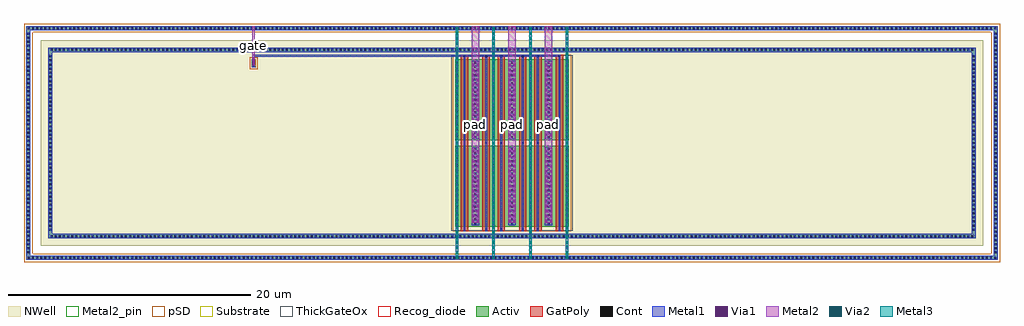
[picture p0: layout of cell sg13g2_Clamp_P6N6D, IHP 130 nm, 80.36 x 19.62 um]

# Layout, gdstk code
import gdstk
lib = gdstk.Library(unit=1e-6, precision=1e-09)
def R(c, l, rs):  # rectangles x0, y0, x1, y1
    for r in rs: c.add(gdstk.rectangle(r[:2], r[2:], *l))
def A(c, l, x, y, w, h, nx, ny, dx, dy):  # array of equal rectangles
    R(c, l, [(x+i*dx, y+j*dy, x+i*dx+w, y+j*dy+h) for i in range(nx) for j in range(ny)])
def P(c, l, *ps):  # polygons
    for p in ps: c.add(gdstk.Polygon(p, *l))
Activ = (1, 0)
GatPoly = (5, 0)
Cont = (6, 0)
Metal1 = (8, 0)
Metal2 = (10, 0)
Metal2_pin = (10, 2)
pSD = (14, 0)
Via1 = (19, 0)
Via2 = (29, 0)
Metal3 = (30, 0)
NWell = (31, 0)
Substrate = (40, 0)
ThickGateOx = (44, 0)
Recog_diode = (99, 31)

sg13g2_guardring_p16000w = lib.new_cell('sg13g2_GuardRing_P16000W3852HFF')
P(sg13g2_guardring_p16000w, Activ, [(-40,-9.63),(-40,9.29),(-39.66,9.29),(-39.66,-9.29),(39.66,-9.29),(39.66,9.29),(-40,9.29),(-40,9.63),(40,9.63),(40,-9.63)])
A(sg13g2_guardring_p16000w, Cont, -39.86, -9.54, 0.16, 0.16, 235, 2, 0.34, 18.92)
A(sg13g2_guardring_p16000w, Cont, -39.91, -9.09, 0.16, 0.16, 1, 54, 0, 0.34)
A(sg13g2_guardring_p16000w, Cont, 39.75, -9.09, 0.16, 0.16, 1, 54, 0, 0.34)
P(sg13g2_guardring_p16000w, Metal1, [(-40,-9.63),(-40,9.29),(-39.66,9.29),(-39.66,-9.29),(39.66,-9.29),(39.66,9.29),(-40,9.29),(-40,9.63),(40,9.63),(40,-9.63)])
P(sg13g2_guardring_p16000w, pSD, [(-40.18,-9.81),(-40.18,9.11),(-39.48,9.11),(-39.48,-9.11),(39.48,-9.11),(39.48,9.11),(-40.18,9.11),(-40.18,9.81),(40.18,9.81),(40.18,-9.81)])
P(sg13g2_guardring_p16000w, Substrate, [(-40,-9.63),(-40,9.29),(-39.66,9.29),(-39.66,-9.29),(39.66,-9.29),(39.66,9.29),(-40,9.29),(-40,9.63),(40,9.63),(40,-9.63)])
sg13g2_guardring_p16000w.add(gdstk.Label('sub!', (-39.83,-9.46), layer=63, texttype=0))

sg13g2_guardring_n15280w = lib.new_cell('sg13g2_GuardRing_N15280W3132HTF')
P(sg13g2_guardring_n15280w, Activ, [(-38.2,-7.83),(-38.2,7.49),(-37.86,7.49),(-37.86,-7.49),(37.86,-7.49),(37.86,7.49),(-38.2,7.49),(-38.2,7.83),(38.2,7.83),(38.2,-7.83)])
A(sg13g2_guardring_n15280w, Cont, -37.99, -7.74, 0.16, 0.16, 224, 2, 0.34, 15.32)
A(sg13g2_guardring_n15280w, Cont, -38.11, -7.22, 0.16, 0.16, 1, 43, 0, 0.34)
A(sg13g2_guardring_n15280w, Cont, 37.95, -7.22, 0.16, 0.16, 1, 43, 0, 0.34)
P(sg13g2_guardring_n15280w, Metal1, [(-38.2,-7.83),(-38.2,7.49),(-37.86,7.49),(-37.86,-7.49),(37.86,-7.49),(37.86,7.49),(-38.2,7.49),(-38.2,7.83),(38.2,7.83),(38.2,-7.83)])
R(sg13g2_guardring_n15280w, NWell, [(-38.82,-8.45,38.82,8.45)])

sg13g2_clamp_p6n6d = lib.new_cell('sg13g2_Clamp_P6N6D')
R(sg13g2_clamp_p6n6d, Activ, [(35.32,2.75,44.68,9.41), (35.32,9.85,44.68,16.51), (18.58,15.87,18.88,16.51)])
R(sg13g2_clamp_p6n6d, GatPoly, [(35.79,2.38,36.39,16.88), (37.57,2.38,38.17,16.88), (38.81,2.38,39.41,16.88), (40.59,2.38,41.19,16.88), (41.83,2.38,42.43,16.88), (43.61,2.38,44.21,16.88)])
A(sg13g2_clamp_p6n6d, Cont, 36.01, 2.45, 0.16, 0.16, 1, 3, 0, 7.1)
A(sg13g2_clamp_p6n6d, Cont, 37.79, 2.45, 0.16, 0.16, 1, 3, 0, 7.1)
A(sg13g2_clamp_p6n6d, Cont, 39.03, 2.45, 0.16, 0.16, 1, 3, 0, 7.1)
A(sg13g2_clamp_p6n6d, Cont, 40.81, 2.45, 0.16, 0.16, 1, 3, 0, 7.1)
A(sg13g2_clamp_p6n6d, Cont, 42.05, 2.45, 0.16, 0.16, 1, 3, 0, 7.1)
A(sg13g2_clamp_p6n6d, Cont, 43.83, 2.45, 0.16, 0.16, 1, 3, 0, 7.1)
A(sg13g2_clamp_p6n6d, Cont, 35.39, 2.94, 0.16, 0.16, 7, 19, 1.51, 0.34)
A(sg13g2_clamp_p6n6d, Cont, 35.39, 10.04, 0.16, 0.16, 7, 19, 1.51, 0.34)
R(sg13g2_clamp_p6n6d, Cont, [(18.65,15.94,18.81,16.1), (18.65,16.28,18.81,16.44)])
A(sg13g2_clamp_p6n6d, Metal1, 35.365, 1.8, 0.21, 0.34, 4, 2, 3.02, 15.32)
A(sg13g2_clamp_p6n6d, Metal1, 35.365, 2.86, 0.21, 6.44, 4, 2, 3.02, 7.1)
A(sg13g2_clamp_p6n6d, Metal1, 36.67, 2.86, 0.62, 6.44, 3, 2, 3.02, 7.1)
P(sg13g2_clamp_p6n6d, Metal1, [(36.01,2.37),(36.01,16.73),(18.835,16.73),(18.835,15.86),(18.625,15.86),(18.625,16.89),(43.99,16.89),(43.99,2.37),(43.83,2.37),(43.83,16.73),(42.21,16.73),(42.21,2.37),(42.05,2.37),(42.05,16.73),(40.97,16.73),(40.97,2.37),(40.81,2.37),(40.81,16.73),(39.19,16.73),(39.19,2.37),(39.03,2.37),(39.03,16.73),(37.95,16.73),(37.95,2.37),(37.79,2.37),(37.79,16.73),(36.17,16.73),(36.17,2.37)])
A(sg13g2_clamp_p6n6d, Metal2, 35.37, 0, 0.2, 19.26, 4, 1, 3.02, 0)
A(sg13g2_clamp_p6n6d, Metal2, 36.675, 3.065, 0.61, 16.195, 3, 1, 3.02, 0)
R(sg13g2_clamp_p6n6d, Metal2, [(18.63,16.025,18.83,19.26)])
A(sg13g2_clamp_p6n6d, Metal2_pin, 36.675, 3.065, 0.61, 16.195, 3, 1, 3.02, 0)
R(sg13g2_clamp_p6n6d, Metal2_pin, [(18.63,16.025,18.83,19.26)])
R(sg13g2_clamp_p6n6d, pSD, [(35.14,2.35,44.86,16.91), (18.4,15.69,19.06,16.69)])
A(sg13g2_clamp_p6n6d, Via1, 35.375, 1.875, 0.19, 0.19, 4, 2, 3.02, 15.32)
A(sg13g2_clamp_p6n6d, Via1, 35.375, 3.115, 0.19, 0.19, 1, 15, 0, 0.41)
A(sg13g2_clamp_p6n6d, Via1, 36.68, 3.115, 0.19, 0.19, 1, 15, 0, 0.41)
A(sg13g2_clamp_p6n6d, Via1, 37.09, 3.115, 0.19, 0.19, 3, 15, 1.305, 0.41)
A(sg13g2_clamp_p6n6d, Via1, 40.11, 3.115, 0.19, 0.19, 3, 15, 1.305, 0.41)
A(sg13g2_clamp_p6n6d, Via1, 43.13, 3.115, 0.19, 0.19, 1, 15, 0, 0.41)
A(sg13g2_clamp_p6n6d, Via1, 44.435, 3.115, 0.19, 0.19, 1, 15, 0, 0.41)
A(sg13g2_clamp_p6n6d, Via1, 35.375, 10.215, 0.19, 0.19, 1, 15, 0, 0.41)
A(sg13g2_clamp_p6n6d, Via1, 36.68, 10.215, 0.19, 0.19, 1, 15, 0, 0.41)
A(sg13g2_clamp_p6n6d, Via1, 37.09, 10.215, 0.19, 0.19, 3, 15, 1.305, 0.41)
A(sg13g2_clamp_p6n6d, Via1, 40.11, 10.215, 0.19, 0.19, 3, 15, 1.305, 0.41)
A(sg13g2_clamp_p6n6d, Via1, 43.13, 10.215, 0.19, 0.19, 1, 15, 0, 0.41)
A(sg13g2_clamp_p6n6d, Via1, 44.435, 10.215, 0.19, 0.19, 1, 15, 0, 0.41)
R(sg13g2_clamp_p6n6d, Via1, [(18.635,16.075,18.825,16.265), (18.635,16.485,18.825,16.675)])
A(sg13g2_clamp_p6n6d, Via2, 35.375, 0.105, 0.19, 0.19, 4, 47, 3.02, 0.41)
A(sg13g2_clamp_p6n6d, Metal3, 35.37, 0.055, 0.2, 19.15, 4, 1, 3.02, 0)
R(sg13g2_clamp_p6n6d, NWell, [(34.7,2.13,45.3,17.13), (17.96,15.25,19.5,17.13)])
R(sg13g2_clamp_p6n6d, ThickGateOx, [(34.98,2.41,45.02,16.85)])
R(sg13g2_clamp_p6n6d, Recog_diode, [(18.56,15.85,18.9,16.53)])
sg13g2_clamp_p6n6d.add(gdstk.Reference(sg13g2_guardring_p16000w, (40,9.63)))
sg13g2_clamp_p6n6d.add(gdstk.Reference(sg13g2_guardring_n15280w, (40,9.63)))
sg13g2_clamp_p6n6d.add(gdstk.Label('pad', (40,11.163), layer=10, texttype=25))
sg13g2_clamp_p6n6d.add(gdstk.Label('pad', (36.98,11.163), layer=10, texttype=25))
sg13g2_clamp_p6n6d.add(gdstk.Label('pad', (43.02,11.163), layer=10, texttype=25))
sg13g2_clamp_p6n6d.add(gdstk.Label('gate', (18.73,17.643), layer=10, texttype=25))

lib.write_gds('sg13g2_Clamp_P6N6D.gds')
